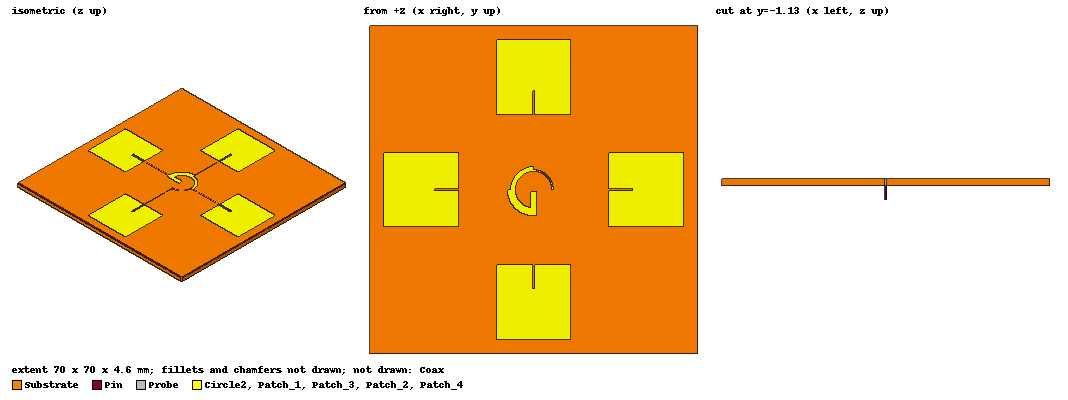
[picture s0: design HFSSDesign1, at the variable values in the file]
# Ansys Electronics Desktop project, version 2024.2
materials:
  vacuum: permittivity=1
  FR4_epoxy: permittivity=4.4 dielectric_loss_tangent=0.02
  Duroid (tm): permittivity=2.2 dielectric_loss_tangent=0.0009
  Rogers RT/duroid 5880 (tm): permittivity=2.2 dielectric_loss_tangent=0.0009
  pec: conductivity=1e+30

design HFSSDesign1 (HFSS, HFSS Terminal Network, model units mm)
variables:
  Ls = 70mm
  r1 = 5.6mm
  r2 = 4.9mm
  r4 = 4.2mm
  r3 = 3.9mm
  W1 = 1.46mm
  L1 = 5.2mm
  L2 = 15.4mm
  W2 = 0.2mm
  Hs = -1.6mm
  Lp = 16mm
  Wp = 16mm
  W7 = 0.6mm
  dL = 3.9mm
  rs = 0.5mm
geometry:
  Substrate [FR4_epoxy] = box(corner=(-Ls/2, -Ls/2, 0mm), size=(Ls, Ls, Hs))
  Circle1 = circle(normal=Z, centre=(0mm, 0mm, 0mm), radius=r1)
  Rectangle1 = rectangle(corner=(-8mm, 0mm, 0mm), x_size=16mm, y_size=8mm)
  Rectangle2 = rectangle(corner=(0mm, 8mm, 0mm), x_size=8mm, y_size=-14mm)
  Circle1.subtract(Rectangle1, Rectangle2)
  Circle2 = circle(normal=Z, centre=(0mm, 0mm, 0mm), radius=r2, segments=2000)
  Rectangle3 = rectangle(corner=(0mm, -5.6mm, 0mm), x_size=8mm, y_size=11.6mm)
  Rectangle4 = rectangle(corner=(0mm, -5.6mm, 0mm), x_size=-8mm, y_size=5.6mm)
  Circle2.subtract(Rectangle3, Rectangle4)
  Circle3 = circle(normal=Z, centre=(0mm, 0mm, 0mm), radius=r4, segments=2000)
  Rectangle5 = rectangle(corner=(0mm, -5.6mm, 0mm), x_size=-6mm, y_size=11.6mm)
  Rectangle6 = rectangle(corner=(-5.6mm, 0mm, 0mm), x_size=11.6mm, y_size=-6mm)
  Circle3.subtract(Rectangle5, Rectangle6)
  Circle4 = circle(normal=Z, centre=(0mm, 0mm, 0mm), radius=r3)
  Circle4_1 = Circle4.copy()
  Circle1.subtract(Circle4_1)
  Circle4_2 = Circle4.copy()
  Circle2.subtract(Circle4_2)
  Circle3.subtract(Circle4)
  Rectangle7 = rectangle(corner=(-W1/2, -0.4mm, 0mm), x_size=W1, y_size=-L1)
  Rectangle8 = rectangle(corner=(-W2/2, -3.9mm, 0mm), x_size=W2, y_size=-L2-1.7mm)
  Rectangle9 = rectangle(corner=(-3.9mm, -W2/2, 0mm), x_size=-L2-1.7mm, y_size=W2)
  Rectangle10 = rectangle(corner=(-W2/2, 3.9mm, 0mm), x_size=W2, y_size=L2+1.7mm)
  Rectangle11 = rectangle(corner=(3.9mm, -W2/2, 0mm), x_size=L2+1.7mm, y_size=W2)
  Circle9 = circle(normal=Z, centre=(0mm, 0mm, 0mm), radius=5.6mm)
  Circle10 = circle(normal=Z, centre=(0mm, 0mm, 0mm), radius=6mm)
  Circle10.subtract(Circle9)
  Rectangle7.subtract(Circle10)
  Circle2.unite(Rectangle9, Circle1, Rectangle8, Rectangle7, Circle3, Rectangle11, Rectangle10)
  Patch_1 = rectangle(corner=(-Wp/2, 16mm, 0mm), x_size=Wp, y_size=Lp)
  Patch_3 = rectangle(corner=(-16mm, -Wp/2, 0mm), x_size=-Lp, y_size=Wp)
  Patch_2 = rectangle(corner=(16mm, -Wp/2, 0mm), x_size=Lp, y_size=Wp)
  Patch_4 = rectangle(corner=(-Wp/2, -16mm, 0mm), x_size=Wp, y_size=-Lp)
  Inset_Slot_1 = rectangle(corner=(-W7/2, 16mm, 0mm), x_size=W7, y_size=5.2mm)
  Inset_Slot_2 = rectangle(corner=(16mm, 0.3mm, 0mm), x_size=5.2mm, y_size=-0.6mm)
  Inset_Slot_4 = rectangle(corner=(-0.3mm, -16mm, 0mm), x_size=0.6mm, y_size=-5.2mm)
  Inset_Slot_3 = rectangle(corner=(-16mm, -0.3mm, 0mm), x_size=-5.2mm, y_size=0.6mm)
  Patch_1.subtract(Inset_Slot_1)
  Patch_2.subtract(Inset_Slot_2)
  Patch_4.subtract(Inset_Slot_4)
  Patch_3.subtract(Inset_Slot_3)
  Patch_1.chamfer(Vertices=Patch_1.vertex(at (8, 32, 0), at (-8, 16, 0)) LeftDistance=dL RightDistance=dL ChamferType=Symmetric)
  Patch_4.chamfer(Vertices=Patch_4.vertex(at (8, -16, 0), at (-8, -32, 0)) LeftDistance=dL RightDistance=dL ChamferType=Symmetric)
  Patch_2.chamfer(Vertices=Patch_2.vertex(at (16, 8, 0), at (32, -8, 0)) LeftDistance=dL RightDistance=dL ChamferType=Symmetric)
  Patch_3.chamfer(Vertices=Patch_3.vertex(at (-32, 8, 0), at (-16, -8, 0)) LeftDistance=dL RightDistance=dL ChamferType=Symmetric)
  GND = rectangle(corner=(-35mm, -35mm, Hs), x_size=70mm, y_size=70mm)
  GND_CUT_SLOT = circle(normal=Z, centre=(0mm, -1.13mm, Hs), radius=rs)
  GND.subtract(GND_CUT_SLOT)
  Coax [vacuum] = cylinder(axis=Z, base_centre=(0mm, -1.13mm, Hs), radius=rs, height=-3mm)
  Pin [pec] = cylinder(axis=Z, base_centre=(0mm, -1.13mm, Hs), radius=rs/2, height=-3mm)
  Probe [pec] = cylinder(axis=Z, base_centre=(0mm, -1.13mm, Hs), radius=rs/2, height=-Hs)
  Port = circle(normal=Z, centre=(0mm, -1.13mm, -4.6mm), radius=rs)
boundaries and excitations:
  PerfE1: Perfect E Objects=[GND, Patch_1..Patch_4, Circle2]
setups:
  Setup1: HfssDriven Frequency=10GHz MaxDeltaE=0.1 MaximumPasses=10 MinimumPasses=1 MinimumConvergedPasses=1 PercentRefinement=30 BasisOrder=1 DrivenSolverType="Direct Solver"
    sweep Sweep: 5GHz to 15GHz, 101 points; Type=Fast SaveFields
